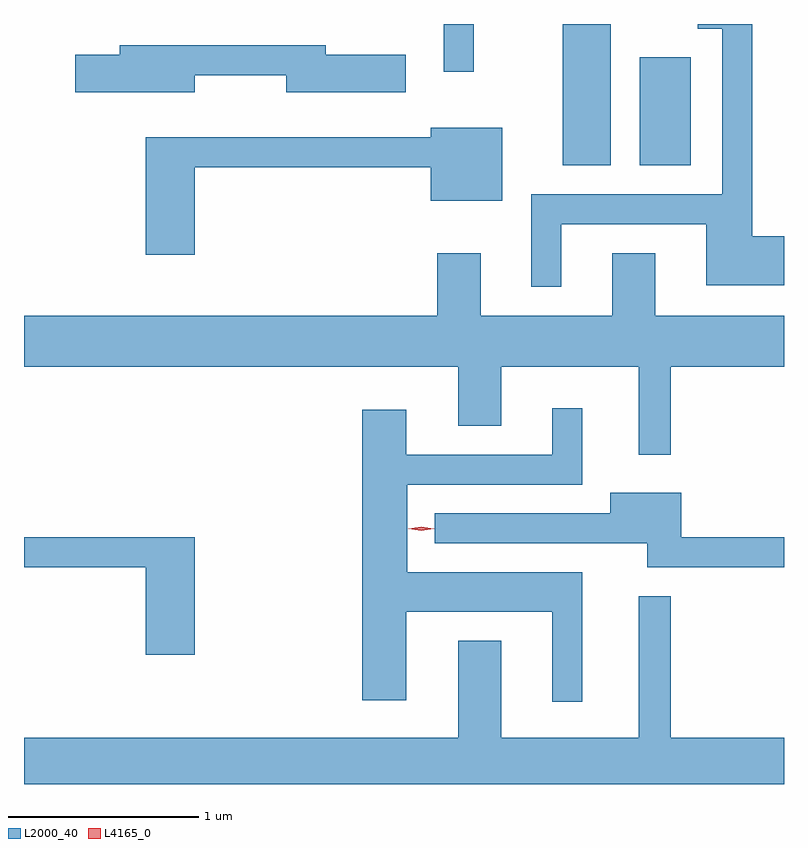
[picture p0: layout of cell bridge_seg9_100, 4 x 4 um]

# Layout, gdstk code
import gdstk
lib = gdstk.Library(unit=1e-6, precision=1e-09)
def R(c, l, rs):  # rectangles x0, y0, x1, y1
    for r in rs: c.add(gdstk.rectangle(r[:2], r[2:], *l))
def P(c, l, *ps):  # polygons
    for p in ps: c.add(gdstk.Polygon(p, *l))
L2000_40 = (2000, 40)
L4165_0 = (4165, 0)

bridge_seg9_100 = lib.new_cell('bridge_seg9_100')
R(bridge_seg9_100, L2000_40, [(1823.261,1970.676,1823.514,1971.42), (1823.666,1970.676,1823.934,1971.244), (1822.636,1971.168,1822.794,1971.42)])
P(bridge_seg9_100, L2000_40, [(1823.254,1970.366),(1824.016,1970.366),(1824.016,1970.046),(1824.426,1970.046),(1824.426,1970.304),(1824.259,1970.304),(1824.259,1971.42),(1823.973,1971.42),(1823.973,1971.396),(1824.101,1971.396),(1824.101,1970.524),(1823.096,1970.524),(1823.096,1970.038),(1823.254,1970.038)],
  [(1821.324,1971.151),(1821.806,1971.151),(1821.806,1971.061),(1822.434,1971.061),(1822.434,1971.259),(1822.014,1971.259),(1822.014,1971.309),(1820.931,1971.309),(1820.931,1971.259),(1820.696,1971.259),(1820.696,1971.061),(1821.324,1971.061)],
  [(1821.324,1970.666),(1822.566,1970.666),(1822.566,1970.491),(1822.944,1970.491),(1822.944,1970.874),(1822.566,1970.874),(1822.566,1970.824),(1821.066,1970.824),(1821.066,1970.206),(1821.324,1970.206)],
  [(1823.829,1969.616),(1824.426,1969.616),(1824.426,1969.884),(1823.749,1969.884),(1823.749,1970.214),(1823.521,1970.214),(1823.521,1969.884),(1822.829,1969.884),(1822.829,1970.214),(1822.601,1970.214),(1822.601,1969.884),(1820.426,1969.884),(1820.426,1969.616),(1822.711,1969.616),(1822.711,1969.306),(1822.939,1969.306),(1822.939,1969.616),(1823.661,1969.616),(1823.661,1969.153),(1823.829,1969.153)],
  [(1823.364,1968.534),(1822.444,1968.534),(1822.444,1968.996),(1823.364,1968.996),(1823.364,1969.398),(1823.206,1969.398),(1823.206,1969.154),(1822.439,1969.154),(1822.439,1969.389),(1822.206,1969.389),(1822.206,1967.861),(1822.439,1967.861),(1822.439,1968.326),(1823.206,1968.326),(1823.206,1967.853),(1823.364,1967.853)],
  [(1824.426,1968.719),(1823.884,1968.719),(1823.884,1968.954),(1823.511,1968.954),(1823.511,1968.844),(1822.588,1968.844),(1822.588,1968.686),(1823.706,1968.686),(1823.706,1968.561),(1824.426,1968.561)],
  [(1821.324,1968.719),(1820.426,1968.719),(1820.426,1968.561),(1821.066,1968.561),(1821.066,1968.101),(1821.324,1968.101)],
  [(1824.426,1967.664),(1823.829,1967.664),(1823.829,1968.408),(1823.661,1968.408),(1823.661,1967.664),(1822.939,1967.664),(1822.939,1968.174),(1822.711,1968.174),(1822.711,1967.664),(1820.426,1967.664),(1820.426,1967.42),(1824.426,1967.42)])
P(bridge_seg9_100, L4165_0, [(1822.517,1968.753),(1822.448,1968.763),(1822.447,1968.763),(1822.448,1968.764),(1822.517,1968.773),(1822.586,1968.764),(1822.586,1968.763),(1822.586,1968.763)],
  [(1822.517,1968.753),(1822.451,1968.763),(1822.45,1968.763),(1822.451,1968.764),(1822.517,1968.773),(1822.582,1968.764),(1822.583,1968.763),(1822.582,1968.763)])

lib.write_gds('bridge_seg9_100.gds')
